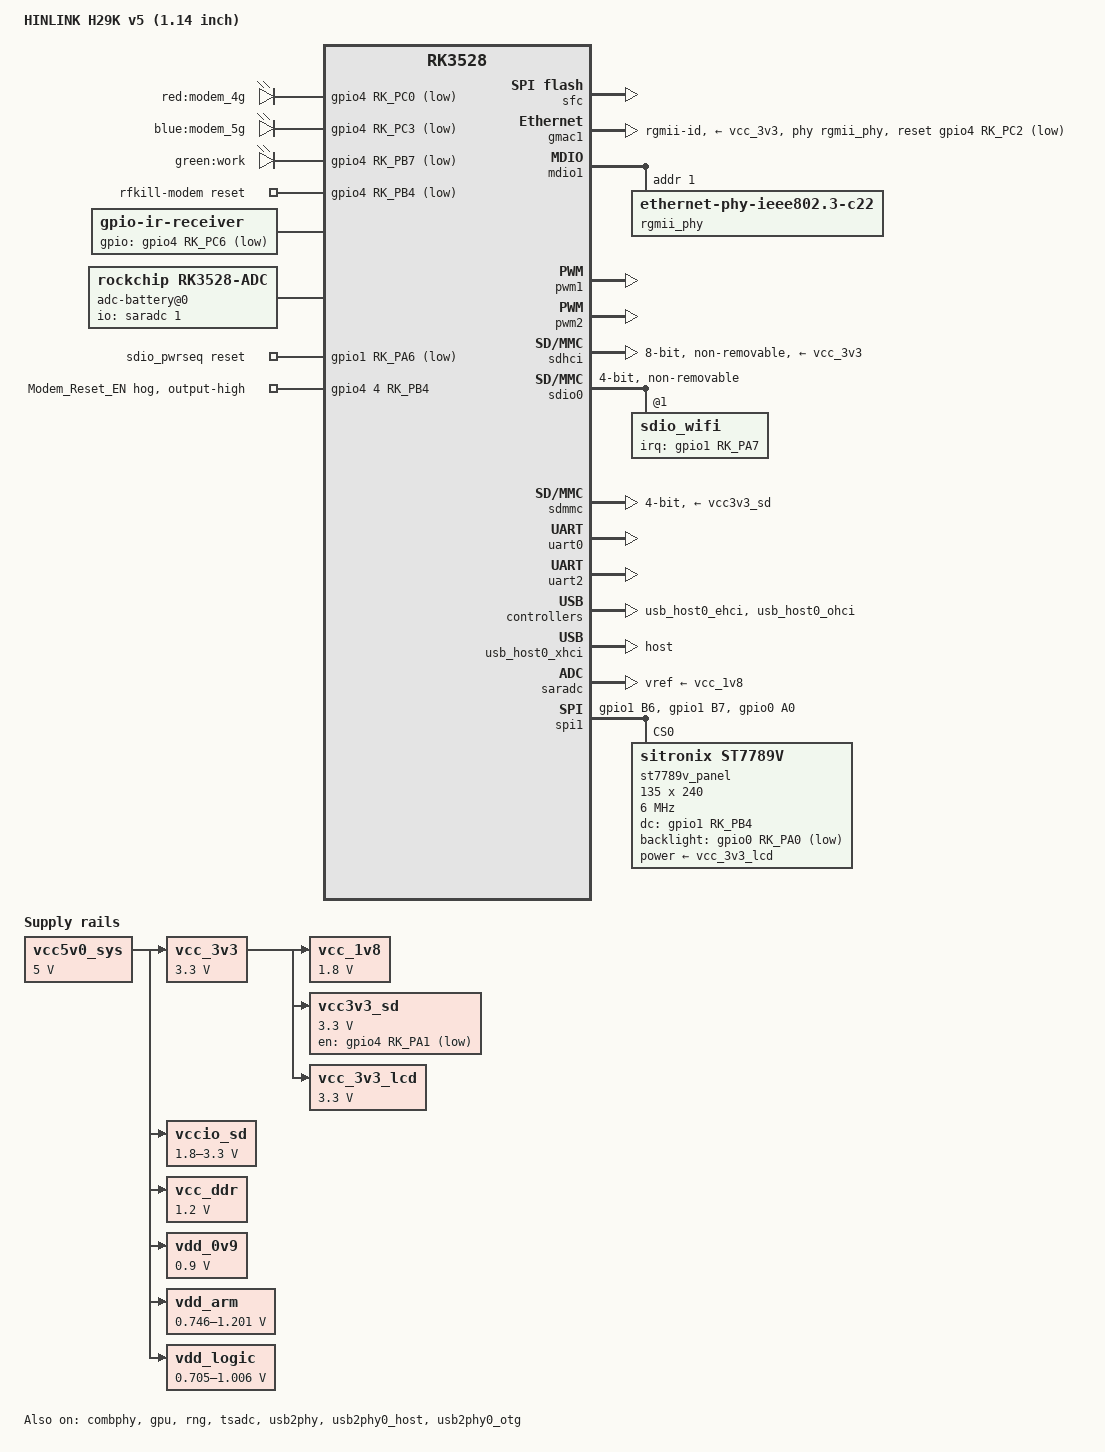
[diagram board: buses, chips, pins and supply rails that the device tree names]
// SPDX-License-Identifier: (GPL-2.0+ OR MIT)
/*
 * HinLink H29K —— v5 主板 + 1.14 寸屏（135x240 rot90）
 *
 * ★ 网络：**单网口** —— 只有板载 RGMII(gmac1)。
 *   本 DTS 不含任何 PCIe 网卡节点，因此枚举结果只有 eth0。
 *   厂商 DTS 与上游 unifreq rk3528-hlink-h29k.dts 同样是单口
 *   （aliases 里只有 ethernet0 = &gmac1），两侧一致。
 *   ⇒ board.d/02_network 对本机只映射 eth0，不设独立 WAN。
 *
 * ★ v5 相对 v1.3 的功能增减：有电池电压 ADC(saradc ch1)、有红外接收、
 *   有 uart2（5G 串口）；模组不再独立控制供电。
 *   电池电压读取**不需要 patch** —— Linux 6.18 上游已原生支持
 *   rockchip,rk3528-saradc（4 通道 IIO），内核 rk3528.dtsi 里也已声明该
 *compatible。本仓库早期的 9527-...-iio-add-adc.patch 已删除。
 *
 * ★ 屏幕尺寸只保留 1.14" 与 1.49" 两种；厂商的 1.9" / 2.8" 变体已移除。
 */

/dts-v1/;
#include <dt-bindings/gpio/gpio.h>
#include <dt-bindings/pinctrl/rockchip.h>

#include "rk3528.dtsi"

/ {
	model = "HINLINK H29K v5 (1.14 inch)";
	// 屏幕: 1.14" 135x240 rot90
	// 屏幕: 1.14" 135x240
	compatible = "hinlink,h29k-v5-114", "rockchip,rk3528";

	aliases {
		mmc0 = &sdhci;
		mmc1 = &sdmmc;
		mmc2 = &sdio0;
		ethernet0 = &gmac1;

		led-boot = &led_work;
		led-failsafe = &led_work;
		led-running = &led_work;
		led-upgrade = &led_work;

		
	};

	chosen {
		stdout-path = "serial0:1500000n8";
	};

	leds {
		compatible = "gpio-leds";
		pinctrl-names = "default";
		pinctrl-0 = <&modem_4g_led>,<&modem_5g_led>, <&work_led_en>;

		modem_4g: modem_4g {
			label = "red:modem_4g";
			gpios = <&gpio4 RK_PC0 GPIO_ACTIVE_LOW>;
		};

		modem_5g: modem_5g {
			label = "blue:modem_5g";
			gpios = <&gpio4 RK_PC3 GPIO_ACTIVE_LOW>;
		};

		led_work: work {
			label = "green:work";
			gpios = <&gpio4 RK_PB7 GPIO_ACTIVE_LOW>;
		};
	};

	rfkill-modem {
		compatible = "rfkill-gpio";
		name = "rfkill-modem";
		type = "wwan";
		reset-gpios = <&gpio4 RK_PB4 GPIO_ACTIVE_LOW>;
	};

	ir-receiver {
		compatible = "gpio-ir-receiver";
		gpios = <&gpio4 RK_PC6 GPIO_ACTIVE_LOW>;
		pinctrl-names = "default";
		pinctrl-0 = <&ir_int_pin>;
	};



	// 电池电压检测（saradc 通道 1）
	adc-battery@0 {
		compatible = "rockchip,rk3528-adc";
		io-channels = <&saradc 1>;
		io-channel-names = "battery_voltage";
		status = "okay";
	};

	sdio_pwrseq: sdio-pwrseq {
		compatible = "mmc-pwrseq-simple";
		pinctrl-names = "default";
		pinctrl-0 = <&wifi_enable_h>;
		reset-gpios = <&gpio1 RK_PA6 GPIO_ACTIVE_LOW>;
	};

	vcc5v0_sys: vcc5v0-sys {
		compatible = "regulator-fixed";
		regulator-name = "vcc5v0_sys";
		regulator-always-on;
		regulator-boot-on;
		regulator-min-microvolt = <5000000>;
		regulator-max-microvolt = <5000000>;
	};

	vcc_3v3: vcc-3v3 {
		compatible = "regulator-fixed";
		regulator-name = "vcc_3v3";
		regulator-always-on;
		regulator-boot-on;
		regulator-min-microvolt = <3300000>;
		regulator-max-microvolt = <3300000>;
		vin-supply = <&vcc5v0_sys>;
	};

	vcc_1v8: vcc-1v8 {
		compatible = "regulator-fixed";
		regulator-name = "vcc_1v8";
		regulator-always-on;
		regulator-boot-on;
		regulator-min-microvolt = <1800000>;
		regulator-max-microvolt = <1800000>;
		vin-supply = <&vcc_3v3>;
	};

	vcc3v3_sd: vcc3v3-sd {
		compatible = "regulator-fixed";
		gpio = <&gpio4 RK_PA1 GPIO_ACTIVE_LOW>;
		regulator-name = "vcc3v3_sd";
		regulator-always-on;
		regulator-boot-on;
		regulator-min-microvolt = <3300000>;
		regulator-max-microvolt = <3300000>;
		vin-supply = <&vcc_3v3>;
	};

	vcc_3v3_lcd: vcc-3v3-lcd {
		compatible = "regulator-fixed";
		regulator-name = "vcc_3v3_lcd";
		regulator-min-microvolt = <3300000>;
		regulator-max-microvolt = <3300000>;
		vin-supply = <&vcc_3v3>;
	};

	vccio_sd: vccio-sd {
		compatible = "regulator-gpio";
		gpios = <&gpio4 RK_PB6 GPIO_ACTIVE_HIGH>;
		regulator-name = "vccio_sd";
		regulator-min-microvolt = <1800000>;
		regulator-max-microvolt = <3300000>;
		states = <1800000 0x0>, <3300000 0x1>;
		vin-supply = <&vcc5v0_sys>;
	};

	vcc_ddr: vcc-ddr {
		compatible = "regulator-fixed";
		regulator-name = "vcc_ddr";
		regulator-always-on;
		regulator-boot-on;
		regulator-min-microvolt = <1200000>;
		regulator-max-microvolt = <1200000>;
		vin-supply = <&vcc5v0_sys>;
	};

	vdd_0v9: vdd-0v9 {
		compatible = "regulator-fixed";
		regulator-name = "vdd_0v9";
		regulator-always-on;
		regulator-boot-on;
		regulator-min-microvolt = <900000>;
		regulator-max-microvolt = <900000>;
		vin-supply = <&vcc5v0_sys>;
	};

	vdd_arm: vdd-arm {
		compatible = "pwm-regulator";
		pwms = <&pwm1 0 5000 1>;
		regulator-name = "vdd_arm";
		regulator-min-microvolt = <746000>;
		regulator-max-microvolt = <1201000>;
		regulator-always-on;
		regulator-boot-on;
		regulator-settling-time-up-us = <250>;
		pwm-supply = <&vcc5v0_sys>;
	};

	vdd_logic: vdd-logic {
		compatible = "pwm-regulator";
		pwms = <&pwm2 0 5000 1>;
		regulator-name = "vdd_logic";
		regulator-min-microvolt = <705000>;
		regulator-max-microvolt = <1006000>;
		regulator-always-on;
		regulator-boot-on;
		regulator-settling-time-up-us = <250>;
		pwm-supply = <&vcc5v0_sys>;
	};
};

&combphy {
	status = "okay";
};

&cpu0 {
	cpu-supply = <&vdd_arm>;
};

&cpu1 {
	cpu-supply = <&vdd_arm>;
};

&cpu2 {
	cpu-supply = <&vdd_arm>;
};

&cpu3 {
	cpu-supply = <&vdd_arm>;
};

&sfc {
	status = "okay";
};


&gmac1 {
	clock_in_out = "output";
	pinctrl-names = "default";
	pinctrl-0 = <&rgmii_miim
		     &rgmii_tx_bus2
		     &rgmii_rx_bus2
		     &rgmii_rgmii_clk
		     &rgmii_rgmii_bus>;
	phy-handle = <&rgmii_phy>;
	phy-mode = "rgmii-id";
	phy-supply = <&vcc_3v3>;
	snps,reset-active-low;
	snps,reset-delays-us = <0 20000 100000>;
	snps,reset-gpio = <&gpio4 RK_PC2 GPIO_ACTIVE_LOW>;
	status = "okay";
};

&gpu {
	mali-supply = <&vdd_logic>;
	status = "okay";
};

&mdio1 {
	rgmii_phy: phy@1 {
		compatible = "ethernet-phy-ieee802.3-c22";
		reg = <0x1>;
	};
};

&pinctrl {
	ir {
		ir_int_pin: ir-int-pin {
			rockchip,pins = <4 RK_PC6 RK_FUNC_GPIO &pcfg_pull_up>;
		};
	};

	leds {
		//lan_led_en: lan-led-en {
			//rockchip,pins = <4 RK_PC0 RK_FUNC_GPIO &pcfg_pull_none>;
		//};

		//work_led_en: led-work-en {
			//rockchip,pins = <4 RK_PB7 RK_FUNC_GPIO &pcfg_pull_none>;
		//};

		work_led_en: led-work-en {
			rockchip,pins = <4 RK_PB7 RK_FUNC_GPIO &pcfg_pull_none>;
		};

		modem_4g_led: modem_4g_led{
			rockchip,pins = <4 RK_PC0 RK_FUNC_GPIO &pcfg_pull_none>;
		};

		modem_5g_led: modem_5g_led{
			rockchip,pins = <4 RK_PC3 RK_FUNC_GPIO &pcfg_pull_none>;
		};
	};

	wifi {
		wifi_enable_h: wifi-enable-h {
			rockchip,pins = <1 RK_PA6 RK_FUNC_GPIO &pcfg_pull_none>;
		};

		wifi_host_wake: wifi-host-wake {
			rockchip,pins = <1 RK_PA7 RK_FUNC_GPIO &pcfg_pull_down>;
		};
	};

	bluetooth {
		bt_enable_h: bt-enable-h {
			rockchip,pins = <1 RK_PC1 RK_FUNC_GPIO &pcfg_pull_down>;
		};
		uart2m1_gpios: uart2m1-gpios {
			rockchip,pins = <1 RK_PB2 RK_FUNC_GPIO &pcfg_pull_none>;
		};
	};

	modem {
		modem_reset: modem_reset {
			rockchip,pins = <4 RK_PC1 RK_FUNC_GPIO &pcfg_pull_none>;
		};
	};

	lcd {
		lcd_dc_pin: lcd-dc-pin {
			rockchip,pins = <1 RK_PB4 RK_FUNC_GPIO &pcfg_pull_up_drv_level_6>;
		};

		spi1_custom_pins: spi4-custom-pins {
			rockchip,pins =
				/* spi1_clk_m2 */
				<1 RK_PB6 2 &pcfg_pull_none_drv_level_2>,
				/* spi1_mosi_m2 */
				<1 RK_PB7 2 &pcfg_pull_none_drv_level_2>;
		};

		lcd_backlight_pin: lcd-backlight-pin {
            rockchip,pins = <0 RK_PA0 RK_FUNC_GPIO &pcfg_pull_none>;  // 背光引脚
        };
	};

};

&pwm1 {
	status = "okay";
};

&pwm2 {
	status = "okay";
};

&rng {
	status = "okay";
};

&sdhci {
	bus-width = <8>;
	mmc-hs200-1_8v;
	max-frequency = <200000000>;
	non-removable;
	pinctrl-names = "default";
	pinctrl-0 = <&emmc_bus8 &emmc_clk &emmc_cmd &emmc_strb>;
	vmmc-supply = <&vcc_3v3>;
	vqmmc-supply = <&vcc_1v8>;
	status = "okay";
};

&sdio0 {
	#address-cells = <1>;
	#size-cells = <0>;
	bus-width = <4>;
	cap-sd-highspeed;
	cap-sdio-irq;
	keep-power-in-suspend;
	max-frequency = <200000000>;
	mmc-pwrseq = <&sdio_pwrseq>;
	pinctrl-names = "default";
	pinctrl-0 = <&sdio0_bus4 &sdio0_cmd &sdio0_clk>;
	post-power-on-delay-ms = <50>;
	non-removable;
	sd-uhs-sdr104;
	status = "okay";

	sdio_wifi@1 {
		reg = <1>;
		interrupt-parent = <&gpio1>;
		interrupts = <RK_PA7 IRQ_TYPE_LEVEL_HIGH>;
		interrupt-names = "host-wake";
		pinctrl-names = "default";
		pinctrl-0 = <&wifi_host_wake>;
	};
};

&sdmmc {
	bus-width = <4>;
	cap-sd-highspeed;
	disable-wp;
	max-frequency = <150000000>;
	pinctrl-names = "default";
	pinctrl-0 = <&sdmmc_bus4 &sdmmc_clk &sdmmc_cmd &sdmmc_det>;
	rockchip,default-sample-phase = <90>;
	sd-uhs-sdr12;
	sd-uhs-sdr25;
	sd-uhs-sdr50;
	sd-uhs-sdr104;
	vmmc-supply = <&vcc3v3_sd>;
	vqmmc-supply = <&vccio_sd>;
	status = "okay";
};

&tsadc {
	status = "okay";
};

&uart0 {
	pinctrl-names = "default";
	pinctrl-0 = <&uart0m0_xfer>;
	status = "okay";
};

&uart2 {
	pinctrl-names = "default";
	pinctrl-0 = <&uart2m1_xfer &uart2m1_ctsn>;
	status = "okay";
};

&usb2phy {
	status = "okay";
};

&usb2phy0_host {
	phy-supply = <&vcc5v0_sys>;
	status = "okay";
};

&usb_host0_ehci {
	status = "okay";
};

&usb_host0_ohci {
	status = "okay";
};

&usb_host0_xhci {
	dr_mode = "host";
	status = "okay";
};

&usb2phy0_otg {
	phy-supply = <&vcc5v0_sys>;
	vbus-supply = <&vcc_3v3>;
	status = "okay";
};


&gpio4 {
    modem_reset_en {
        gpio-hog;
        gpios = <4 RK_PB4 GPIO_ACTIVE_HIGH>;
        output-high;
        line-name = "Modem_Reset_EN";
    };
};

&saradc {
    compatible = "rockchip,rk3528-saradc";
	vref-supply = <&vcc_1v8>;
	status = "okay";
};


&spi1 {  // 定义SPI1制器节点
	#address-cells = <1>;  // 定义子节点的地址单元数量为1
	#size-cells = <0>;  // 定义子节点的大小单元数量为0
	assigned-clocks = <&cru CLK_SPI1>;  // 给SPI1分配一个时钟信号
	assigned-clock-rates = <200000000>;  // 为SPI1分配的时钟频率，200MHz
	num-cs = <1>;  // SPI4控制器最多支持1个CS（芯片选择）引脚
	pinctrl-names = "default";  // 定义管脚控制组名称为"default"
	pinctrl-0 = <&spi1_custom_pins &lcd_backlight_pin>; // 分配SPI引脚和CS引脚
	status = "okay";  // 激活SPI4控制器

	st7789v_panel: panel@0 {  // 定义LCD面板的子节点
		compatible = "sitronix,st7789v";  // 指定LCD面板兼容ST7789V驱动器
		reg = <0>;  // SPI设备地址，通常为0
		power-supply = <&vcc_3v3_lcd>;  // LCD面板的电源输入，连接到3V电源

		pinctrl-names = "default";  // 定义管脚控制组名称为"default"
		pinctrl-0 = <&lcd_dc_pin>;  // 分配数据/命令选择引脚
		dc-gpios = <&gpio1 RK_PB4 GPIO_ACTIVE_HIGH>; // DC 引脚
		backlight-gpios = <&gpio0 RK_PA0 GPIO_ACTIVE_LOW>;  // 背光引脚

		/* 6Mhz */
        spi-max-frequency = <6000000>;  // 最大SPI通信频率设置为6MHz

		width = <135>;  // 显示屏宽度
		height = <240>;  // 显示屏高度
		// fps = <20>;  // 刷新率，未启用
		buswidth = <8>;  // 设置显示屏的总线宽度为8位
		rotate = <90>;  // 显示旋转90度


		/*
		 * 显示偏移（配合 patches/9999-fbtft-read-display-offset-from-dt.patch）
		 * ST7789V 135x240 面板在 rotate 后显存窗口需平移才能对上可见区。
		 * 数值来自原厂 1.14" 偏移 patch：
		 *   rotate 90/270  ->  x += 40, y += 52
		 *   rotate 0/180   ->  x += 52, y += 40
		 * 上游 unifreq PR#19 给 H89K 标的 x-offset=40 / y-offset=52 与此吻合。
		 */
		x-offset = <40>;
		y-offset = <52>;
		x-offset-0 = <52>;
		y-offset-0 = <40>;
		
		
		/* debug: 0-7 */
		debug = <0>;  // 调试级别设置，0表示关闭调试
		spi-cpol;  // SPI时钟极性
		spi-cpha;  // SPI时钟相位

	};
};

